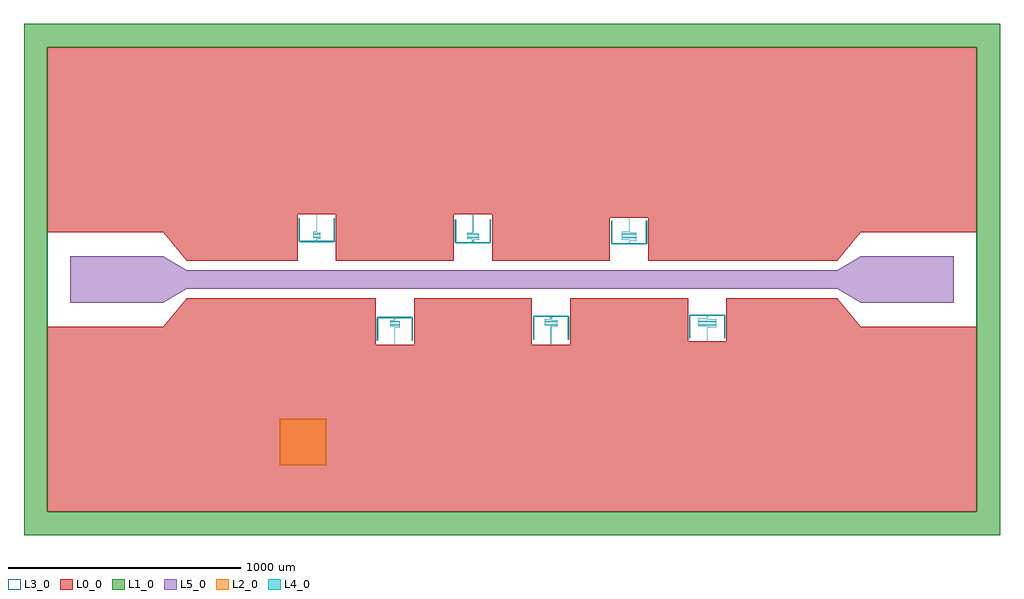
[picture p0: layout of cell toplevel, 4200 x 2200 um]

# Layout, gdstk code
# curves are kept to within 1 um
import gdstk
lib = gdstk.Library(unit=1e-6, precision=1e-09)
def R(c, l, rs):  # rectangles x0, y0, x1, y1
    for r in rs: c.add(gdstk.rectangle(r[:2], r[2:], *l))
def P(c, l, *ps):  # polygons
    for p in ps: c.add(gdstk.Polygon(p, *l))
L0_0 = (0, 0)
L1_0 = (1, 0)
L2_0 = (2, 0)
L3_0 = (3, 0)
L4_0 = (4, 0)
L5_0 = (5, 0)

toplevel = lib.new_cell('toplevel')
P(toplevel, L0_0, [(-757.5,281),(-757.5,81),(-250.5,81),(-250.5,281),(-85.5,281),(-85.5,81),(421.5,81),(421.5,266),(586.5,266),(586.5,81),(1400,81),(1500,202.5),(2000,202.5),(2000,1000),(-2000,1000),(-2000,202.5),(-1500,202.5),(-1400,81),(-922.5,81),(-922.5,281)],
  [(1400,-81),(922.5,-81),(922.5,-266),(757.5,-266),(757.5,-81),(250.5,-81),(250.5,-281),(85.5,-281),(85.5,-81),(-421.5,-81),(-421.5,-281),(-586.5,-281),(-586.5,-81),(-1400,-81),(-1500,-202.5),(-2000,-202.5),(-2000,-1000),(2000,-1000),(2000,-202.5),(1500,-202.5)])
P(toplevel, L1_0, [(2100,1100),(-2100,1100),(-2100,-1000),(-2000,-1000),(-2000,1000),(2000,1000),(2000,-1000),(-2000,-1000),(-2100,-1000),(-2100,-1100),(2100,-1100)])
R(toplevel, L2_0, [(-1000,-800,-800,-600)])
R(toplevel, L3_0, [(-2000,-1000,2000,1000)])
P(toplevel, L4_0, [(-839.7,174.914),(-839.086,175.697),(-825.724,175.716),(-824.924,176.142),(-824.7,177.095),(-824.743,180.435),(-825.629,181.27),(-854.02,181.301),(-854.687,181.786),(-854.687,185.21),(-854.275,185.678),(-825.963,185.701),(-825.124,185.937),(-824.728,186.642),(-824.738,190.416),(-825.623,191.269),(-854.005,191.301),(-854.68,191.741),(-854.689,195.193),(-854.255,195.681),(-825.923,195.702),(-825.105,195.952),(-824.728,196.642),(-824.736,200.403),(-825.636,201.271),(-854.005,201.301),(-854.678,201.729),(-854.375,205.653),(-840.828,205.707),(-839.733,206.61),(-839.7,281),(-840.3,281),(-840.323,206.721),(-840.933,206.302),(-854.579,206.217),(-855.276,205.332),(-855.269,201.623),(-854.077,200.702),(-825.745,200.681),(-825.311,200.193),(-825.32,196.741),(-825.99,196.301),(-854.364,196.271),(-855.264,195.403),(-855.272,191.642),(-854.882,190.942),(-854.042,190.701),(-825.765,190.684),(-825.312,190.206),(-825.314,186.777),(-825.99,186.301),(-854.416,186.262),(-855.269,185.377),(-855.282,181.706),(-854.936,180.986),(-854.06,180.702),(-825.745,180.681),(-825.316,180.235),(-825.312,176.794),(-825.919,176.303),(-839.652,176.19),(-840.28,175.307),(-840.3,171),(-850,166),(-912.259,166.263),(-912.502,261.109),(-912.952,262.434),(-914.043,263.31),(-915.326,263.479),(-916.607,262.915),(-917.5,261),(-917.475,166.954),(-916.915,164.4),(-915.563,162.507),(-913.447,161.346),(-910.644,161),(-769.356,161),(-766.888,161.253),(-764.934,162.118),(-763.131,164.296),(-762.504,167.513),(-762.5,261),(-763.085,262.607),(-764.353,263.415),(-765.752,263.384),(-766.983,262.522),(-767.498,261.109),(-767.751,166.251),(-830,166),(-839.7,171)],
  [(-504.301,-175.044),(-504.923,-175.697),(-523.52,-175.764),(-524.143,-176.25),(-524.3,-177.122),(-524.27,-180.37),(-523.54,-181.23),(-485.015,-181.3),(-484.448,-181.448),(-484.3,-182.06),(-484.312,-185.206),(-484.79,-185.687),(-523.048,-185.701),(-523.87,-185.933),(-524.263,-186.591),(-524.261,-190.416),(-523.294,-191.281),(-485.015,-191.3),(-484.327,-191.702),(-484.312,-195.206),(-484.79,-195.687),(-523.042,-195.701),(-523.852,-195.92),(-524.256,-196.558),(-524.261,-200.416),(-523.294,-201.281),(-485.02,-201.3),(-484.331,-201.683),(-484.308,-205.163),(-484.675,-205.667),(-503.112,-205.703),(-504.248,-206.526),(-504.3,-281),(-503.7,-281),(-503.666,-206.671),(-503.029,-206.301),(-484.519,-206.246),(-483.728,-205.358),(-483.747,-201.545),(-484.957,-200.701),(-523.21,-200.687),(-523.688,-200.202),(-523.671,-196.69),(-522.985,-196.3),(-484.706,-196.281),(-483.738,-195.416),(-483.74,-191.578),(-484.136,-190.928),(-484.957,-190.701),(-523.21,-190.687),(-523.688,-190.206),(-523.675,-186.709),(-522.985,-186.3),(-484.706,-186.281),(-483.738,-185.416),(-483.735,-181.604),(-484.13,-180.933),(-484.952,-180.701),(-523.197,-180.689),(-523.684,-180.235),(-523.689,-176.803),(-523.091,-176.303),(-504.388,-176.205),(-503.723,-175.326),(-503.7,-171),(-494,-166),(-431.741,-166.263),(-431.498,-261.109),(-431.048,-262.434),(-429.957,-263.31),(-428.674,-263.479),(-427.393,-262.915),(-426.5,-261),(-426.525,-166.954),(-427.1,-164.365),(-428.437,-162.507),(-430.552,-161.346),(-433.356,-161),(-574.644,-161),(-577.112,-161.253),(-579.066,-162.118),(-580.853,-164.261),(-581.496,-167.513),(-581.5,-261),(-580.915,-262.607),(-579.647,-263.415),(-578.248,-263.384),(-577.017,-262.522),(-576.502,-261.109),(-576.254,-166.257),(-514,-166),(-504.3,-171)],
  [(-167.7,169.92),(-167.568,170.534),(-167.058,170.698),(-144.768,170.712),(-143.924,171.142),(-143.7,172.122),(-143.754,175.481),(-144.768,176.288),(-190.975,176.3),(-191.671,176.694),(-191.687,180.21),(-191.184,180.69),(-144.974,180.701),(-144.155,180.915),(-143.745,181.552),(-143.74,185.422),(-144.743,186.286),(-190.97,186.3),(-191.668,186.679),(-191.687,190.21),(-191.184,190.69),(-144.974,190.701),(-144.167,190.907),(-143.754,191.519),(-143.738,195.416),(-144.743,196.286),(-190.97,196.3),(-191.663,196.66),(-191.691,200.172),(-191.291,200.675),(-168.911,200.702),(-167.762,201.487),(-167.7,281),(-168.3,281),(-168.34,201.65),(-168.99,201.301),(-191.428,201.259),(-192.271,200.364),(-192.243,196.506),(-191.827,195.903),(-191.02,195.701),(-144.815,195.69),(-144.313,195.21),(-144.335,191.668),(-145.03,191.3),(-191.257,191.286),(-192.26,190.422),(-192.251,186.539),(-191.839,185.911),(-191.025,185.701),(-144.815,185.69),(-144.313,185.21),(-144.33,181.686),(-145.025,181.3),(-191.257,181.286),(-192.26,180.422),(-192.257,176.565),(-191.852,175.92),(-191.025,175.701),(-144.828,175.691),(-144.316,175.239),(-144.304,171.886),(-144.928,171.302),(-167.56,171.224),(-168.275,170.339),(-168.3,166),(-178,161),(-240.259,161.263),(-240.502,256.109),(-240.952,257.434),(-242.043,258.31),(-243.326,258.479),(-244.607,257.915),(-245.5,256),(-245.475,161.954),(-244.915,159.4),(-243.563,157.507),(-241.447,156.346),(-238.644,156),(-97.356,156),(-94.888,156.253),(-92.934,157.118),(-91.1,159.365),(-90.503,162.563),(-90.5,256),(-91.085,257.607),(-92.353,258.415),(-93.752,258.384),(-94.983,257.522),(-95.498,256.109),(-95.751,161.251),(-158,161),(-167.7,166)],
  [(167.698,-170.053),(167.044,-170.699),(141.013,-170.755),(140.394,-171.186),(140.2,-172.122),(140.232,-175.383),(141,-176.241),(194.465,-176.3),(195.063,-176.46),(195.2,-177.045),(195.187,-180.214),(194.667,-180.692),(141.486,-180.701),(140.673,-180.903),(140.255,-181.513),(140.24,-185.422),(141.268,-186.288),(194.465,-186.3),(195.161,-186.653),(195.187,-190.21),(194.667,-190.692),(141.492,-190.701),(140.686,-190.894),(140.264,-191.48),(140.24,-195.422),(141.268,-196.288),(194.46,-196.3),(195.156,-196.636),(195.191,-200.18),(194.767,-200.679),(168.935,-200.702),(167.776,-201.44),(167.7,-281),(168.3,-281),(168.347,-201.625),(169.005,-201.3),(194.89,-201.267),(195.77,-200.37),(195.73,-196.46),(195.308,-195.89),(194.508,-195.701),(141.333,-195.692),(140.813,-195.21),(140.841,-191.646),(141.54,-191.3),(194.732,-191.288),(195.76,-190.422),(195.74,-186.493),(195.32,-185.898),(194.514,-185.701),(141.333,-185.692),(140.813,-185.214),(140.836,-181.664),(141.535,-181.3),(194.732,-181.288),(195.759,-180.428),(195.748,-176.526),(195.333,-175.907),(194.514,-175.701),(141.346,-175.693),(140.804,-175.118),(140.804,-171.882),(141.118,-171.349),(167.527,-171.234),(168.273,-170.351),(168.3,-166),(178,-161),(240.249,-161.251),(240.502,-256.109),(240.952,-257.434),(242.043,-258.31),(243.326,-258.479),(244.607,-257.915),(245.5,-256),(245.475,-161.954),(244.915,-159.4),(243.563,-157.507),(241.447,-156.346),(238.644,-156),(97.356,-156),(94.888,-156.253),(92.934,-157.118),(91.1,-159.365),(90.503,-162.563),(90.5,-256),(91.085,-257.607),(92.353,-258.415),(93.752,-258.384),(94.983,-257.522),(95.498,-256.109),(95.751,-161.251),(158,-161),(167.7,-166)],
  [(504.3,164.925),(504.433,165.536),(504.98,165.699),(534.22,165.71),(535.067,166.13),(535.3,167.101),(535.25,170.468),(534.87,171.067),(534.172,171.293),(474.112,171.3),(473.354,171.605),(473.311,175.197),(473.873,175.695),(534.077,175.702),(535.21,176.401),(535.261,180.416),(534.9,181.044),(534.19,181.292),(474.112,181.3),(473.356,181.598),(473.318,185.251),(473.855,185.694),(533.883,185.7),(534.737,185.85),(535.203,186.381),(535.267,190.39),(534.942,191.008),(534.183,191.292),(474.05,191.3),(473.36,191.589),(473.313,195.21),(473.85,195.693),(533.992,195.7),(535.19,196.348),(535.264,200.403),(534.918,201.029),(534.214,201.29),(474.05,201.3),(473.368,201.57),(473.309,205.176),(473.753,205.682),(503.037,205.701),(504.166,206.296),(504.3,266),(503.7,266),(503.625,206.555),(502.98,206.3),(473.636,206.271),(472.728,205.358),(472.822,201.322),(474.014,200.7),(534.15,200.693),(534.688,200.206),(534.636,196.579),(533.95,196.3),(473.786,196.29),(473.082,196.029),(472.737,195.409),(472.802,191.368),(473.237,190.864),(474.008,190.7),(534.136,190.694),(534.69,190.189),(534.635,186.576),(534.015,186.301),(473.81,186.292),(473.082,186.029),(472.736,185.403),(472.792,181.394),(473.923,180.702),(534.145,180.694),(534.691,180.176),(534.644,176.598),(533.888,176.3),(473.78,176.289),(473.087,176.034),(472.735,175.396),(472.768,171.467),(473.186,170.894),(473.923,170.702),(534.176,170.691),(534.685,170.227),(534.692,166.828),(534.015,166.301),(504.519,166.246),(503.722,165.32),(503.7,161),(494,156),(433.38,156),(431.741,156.263),(431.5,157.88),(431.498,251.109),(431.048,252.434),(429.957,253.31),(428.674,253.479),(427.393,252.915),(426.734,252.056),(426.5,251),(426.525,156.954),(427.1,154.365),(428.437,152.507),(430.552,151.346),(433.356,151),(574.644,151),(577.112,151.253),(579.066,152.118),(580.853,154.261),(581.496,157.513),(581.5,251),(580.915,252.607),(579.647,253.415),(578.248,253.384),(577.017,252.522),(576.502,251.109),(576.5,157.88),(576.254,156.257),(574.62,156),(514,156),(504.3,161)],
  [(839.697,-165.077),(839.557,-165.546),(839.081,-165.697),(801.623,-165.731),(800.915,-166.155),(800.7,-167.058),(800.733,-170.39),(801.035,-170.987),(801.61,-171.267),(877.99,-171.3),(878.568,-171.466),(878.7,-172.122),(878.68,-175.259),(878.109,-175.696),(802.019,-175.7),(801.25,-175.857),(800.81,-176.348),(800.738,-180.416),(801.1,-181.044),(801.828,-181.293),(877.94,-181.3),(878.633,-181.573),(878.687,-185.214),(878.123,-185.695),(802.025,-185.7),(801.27,-185.847),(800.828,-186.309),(800.737,-190.409),(801.093,-191.039),(801.828,-191.293),(877.94,-191.3),(878.624,-191.552),(878.687,-195.21),(878.123,-195.695),(802.03,-195.7),(800.85,-196.263),(800.745,-200.448),(801.087,-201.034),(801.822,-201.293),(877.935,-201.3),(878.612,-201.529),(878.691,-205.18),(878.21,-205.687),(840.997,-205.7),(839.883,-206.205),(839.7,-266),(840.3,-266),(840.394,-206.518),(841.04,-206.3),(878.307,-206.28),(878.959,-205.992),(879.272,-205.358),(879.136,-201.237),(877.97,-200.7),(801.877,-200.695),(801.313,-200.21),(801.382,-196.54),(802.065,-196.3),(878.171,-196.293),(878.906,-196.039),(879.264,-195.403),(879.163,-191.289),(877.975,-190.7),(801.877,-190.695),(801.313,-190.21),(801.372,-186.561),(802.06,-186.3),(878.171,-186.293),(878.9,-186.044),(879.261,-185.416),(879.184,-181.335),(878.737,-180.85),(877.975,-180.7),(801.877,-180.695),(801.313,-180.214),(801.364,-176.579),(802.06,-176.3),(878.147,-176.295),(878.93,-176.019),(879.264,-175.403),(879.2,-171.375),(878.782,-170.875),(878.031,-170.701),(801.833,-170.692),(801.315,-170.227),(801.306,-166.855),(801.452,-166.444),(801.923,-166.302),(839.416,-166.262),(840.014,-165.936),(840.274,-165.345),(840.3,-161),(850,-156),(910.62,-156),(912.259,-156.263),(912.5,-157.9),(912.502,-251.109),(912.952,-252.434),(914.043,-253.31),(915.326,-253.479),(916.607,-252.915),(917.266,-252.056),(917.5,-251),(917.475,-156.954),(916.915,-154.4),(915.563,-152.507),(913.447,-151.346),(910.644,-151),(769.356,-151),(766.888,-151.253),(764.934,-152.118),(763.131,-154.296),(762.504,-157.513),(762.5,-251),(763.085,-252.607),(764.353,-253.415),(765.752,-253.384),(766.983,-252.522),(767.498,-251.109),(767.5,-157.88),(767.751,-156.251),(769.38,-156),(830,-156),(839.7,-161)])
P(toplevel, L5_0, [(-1400,40),(-1500,100),(-1900,100),(-1900,-100),(-1500,-100),(-1400,-40),(1400,-40),(1500,-100),(1900,-100),(1900,100),(1500,100),(1400,40)])

lib.write_gds('toplevel.gds')
